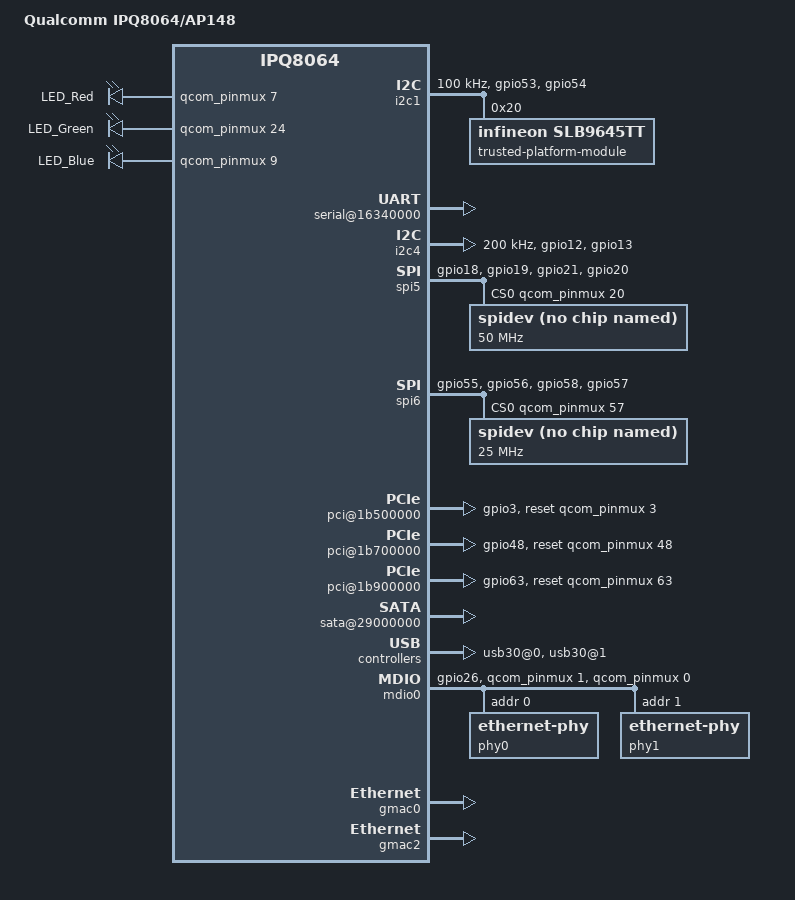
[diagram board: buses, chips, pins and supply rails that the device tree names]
#include "qcom-ipq8064-v1.0.dtsi"

/ {
	model = "Qualcomm IPQ8064/AP148";
	compatible = "google,whirlwind-sp3", "qcom,ipq8064";

	reserved-memory {
		#address-cells = <1>;
		#size-cells = <1>;
		rsvd@41200000 {
			reg = <0x41200000 0x300000>;
			no-map;
		};
	};

	aliases {
		mdio-gpio0 = &mdio0;
		spi5 = &spi5; /* flashrom requires this bus to be the lowest */
		spi6 = &spi6;
	};

	firmware {
		chromeos {
			pinctrl-0 = <&fw_pins>;
			pinctrl-names = "default";
			write-protect-gpio = <&qcom_pinmux 17 1>;
			recovery-switch = <&qcom_pinmux 16 1>;
		};
	};

	soc {
		pinmux@800000 {
			pinctrl-0 = <&rgmii0_pinmux>;
			pinctrl-names = "default";

			sdcc1_pins: sdcc1_pinmux {
				mux {
					pins = "gpio38", "gpio39", "gpio40",
					       "gpio41", "gpio42", "gpio43",
					       "gpio44", "gpio45", "gpio46",
					       "gpio47";
					function = "sdc1";
				};
				cmd {
					pins = "gpio45";
					drive-strength = <10>;
					bias-pull-up;
				};
				data {
					pins = "gpio38", "gpio39", "gpio40",
					       "gpio41", "gpio43", "gpio44",
					       "gpio46", "gpio47";
					drive-strength = <10>;
					bias-pull-up;
				};
				clk {
					pins = "gpio42";
					drive-strength = <16>;
					bias-pull-down;
				};
			};

			i2c1_pins: i2c1_pinmux {
				pins = "gpio53", "gpio54";
				function = "gsbi1";
				bias-disable;
			};

			i2c4_pins: i2c4_pinmux {
				pins = "gpio12", "gpio13";
				function = "gsbi4";
				bias-disable;
			};

			pcie1_pins: pcie1_pinmux {
				mux {
					pins = "gpio3";
					drive-strength = <2>;
					bias-disable;
				};
			};

			pcie2_pins: pcie2_pinmux {
				mux {
					pins = "gpio48";
					drive-strength = <2>;
					bias-disable;
				};
			};

			pcie3_pins: pcie3_pinmux {
				mux {
					pins = "gpio63";
					drive-strength = <2>;
					bias-disable;
				};
			};

			rgmii0_pinmux: rgmii0_pinmux {
				mux {
					pins = "gpio2", "gpio66";
					drive-strength = <8>;
					bias-disable;
				};
			};

			spi_pins: spi_pins {
				mux {
					pins = "gpio18", "gpio19", "gpio21";
					function = "gsbi5";
					bias-pull-down;
				};
				data {
					pins = "gpio18", "gpio19";
					drive-strength = <10>;
				};
				cs {
					pins = "gpio20";
					drive-strength = <10>;
					bias-pull-up;
				};
				clk {
					pins = "gpio21";
					drive-strength = <12>;
				};
			};

			leds_pins: led_pinmux {
				mux {
					pins = "gpio7", "gpio9", "gpio24";
					drive-strength = <2>;
					bias-none;
					output-high;
				};
			};

			switch_reset: switch_reset {
				rst {
					pins = "gpio26";
					output-low;
				};
			};

			fw_pins: fw_pinmux {
				wp {
					pins = "gpio17";
					output-low;
				};
				recovery {
					pins = "gpio16";
					bias-none;
				};
			};

			spi6_pins: spi6_pins {
				mux {
					pins = "gpio55", "gpio56", "gpio58";
					function = "gsbi6_b";
					bias-pull-down;
				};
				data {
					pins = "gpio55", "gpio56";
					drive-strength = <10>;
				};
				cs {
					pins = "gpio57";
					drive-strength = <10>;
					bias-pull-up;
					output-high;
				};
				clk {
					pins = "gpio58";
					drive-strength = <12>;
				};
			};
		};

		gsbi1: gsbi@12440000 {
			qcom,mode = <GSBI_PROT_I2C_UART>;
			status = "ok";

			i2c1: i2c@12460000 {
				status = "ok";

				clock-frequency = <100000>;

				pinctrl-0 = <&i2c1_pins>;
				pinctrl-names = "default";

				trusted-platform-module {
					compatible = "infineon,slb9645tt";
					reg = <0x20>;
					powered-while-suspended;
				};
			};
		};

		gsbi@16300000 {
			qcom,mode = <GSBI_PROT_I2C_UART>;
			status = "ok";
			serial@16340000 {
				status = "ok";
			};

			i2c4: i2c@16380000 {
				status = "ok";

				clock-frequency = <200000>;

				pinctrl-0 = <&i2c4_pins>;
				pinctrl-names = "default";
			};
		};

		gsbi5: gsbi@1a200000 {
			qcom,mode = <GSBI_PROT_SPI>;
			status = "ok";

			spi5: spi@1a280000 {
				status = "ok";
				spi-max-frequency = <50000000>;

				pinctrl-0 = <&spi_pins>;
				pinctrl-names = "default";

				cs-gpios = <&qcom_pinmux 20 0>;

				dmas = <&adm_dma 6 9>,
					<&adm_dma 5 10>;
				dma-names = "rx", "tx";

				spidev@0 {
					compatible = "spidev";
					reg = <0>;
					spi-max-frequency = <50000000>;
				};
			};
		};

		gsbi6: gsbi@16500000 {
			qcom,mode = <GSBI_PROT_SPI>;
			status = "ok";

			spi6: spi@16580000 {
				status = "ok";
				spi-max-frequency = <25000000>;

				pinctrl-0 = <&spi6_pins>;
				pinctrl-names = "default";

				cs-gpios = <&qcom_pinmux 57 0>;

				dmas = <&adm_dma 8 0xb>,
					<&adm_dma 7 0x14>;
				dma-names = "rx", "tx";

				spidev@0 {
					compatible = "spidev";
					reg = <0>;
					spi-max-frequency = <25000000>;
				};
			};
		};

		pci@1b500000 {
			status = "ok";
			reset-gpio = <&qcom_pinmux 3 0>;
			pinctrl-0 = <&pcie1_pins>;
			pinctrl-names = "default";

			ranges = <0x00000000 0 0x00000000 0x0ff00000 0 0x00100000   /* configuration space */
				  0x81000000 0 0	  0x0fe00000 0 0x00100000   /* downstream I/O */
				  0x82000000 0 0x00000000 0x08000000 0 0x07e00000>; /* non-prefetchable memory */

			pcie@0 {
				reg = <0 0 0 0 0>;
				#interrupt-cells = <1>;
				#size-cells = <2>;
				#address-cells = <3>;
				device_type = "pci";

				ath10k@0,0 {
					reg = <0 0 0 0 0>;
					device_type = "pci";
					qcom,ath10k-calibration-data = [00];
				};
			};
		};

		pci@1b700000 {
			status = "ok";
			reset-gpio = <&qcom_pinmux 48 0>;
			pinctrl-0 = <&pcie2_pins>;
			pinctrl-names = "default";

			ranges = <0x00000000 0 0x00000000 0x31f00000 0 0x00100000   /* configuration space */
				  0x81000000 0 0	  0x31e00000 0 0x00100000   /* downstream I/O */
				  0x82000000 0 0x00000000 0x2e000000 0 0x03e00000>; /* non-prefetchable memory */

			pcie@0 {
				reg = <0 0 0 0 0>;
				#interrupt-cells = <1>;
				#size-cells = <2>;
				#address-cells = <3>;
				device_type = "pci";

				ath10k@0,0 {
					reg = <0 0 0 0 0>;
					device_type = "pci";
					qcom,ath10k-calibration-data = [00];
				};
			};
		};

		pci@1b900000 {
			status = "ok";
			reset-gpio = <&qcom_pinmux 63 0>;
			pinctrl-0 = <&pcie3_pins>;
			pinctrl-names = "default";

			ranges = <0x00000000 0 0x00000000 0x35f00000 0 0x00100000   /* configuration space */
				  0x81000000 0 0	  0x35e00000 0 0x00100000   /* downstream I/O */
				  0x82000000 0 0x00000000 0x32000000 0 0x03e00000>; /* non-prefetchable memory */

			pcie@0 {
				reg = <0 0 0 0 0>;
				#interrupt-cells = <1>;
				#size-cells = <2>;
				#address-cells = <3>;
				device_type = "pci";

				ath10k@0,0 {
					reg = <0 0 0 0 0>;
					device_type = "pci";
					qcom,ath10k-calibration-data = [00];
				};
			};
		};

		sata-phy@1b400000 {
			status = "ok";
		};

		sata@29000000 {
			status = "ok";
		};

		dma@18300000 {
			status = "ok";
		};

		tcsr@1a400000 {
			status = "ok";
			qcom,usb-ctrl-select = <TCSR_USB_SELECT_USB3_DUAL>;
		};

		phy@100f8800 {		/* USB3 port 1 HS phy */
			status = "ok";
		};

		phy@100f8830 {		/* USB3 port 1 SS phy */
			status = "ok";
		};

		phy@110f8800 {		/* USB3 port 0 HS phy */
			status = "ok";
		};

		phy@110f8830 {		/* USB3 port 0 SS phy */
			status = "ok";
		};

		usb30@0 {
			status = "ok";
		};

		usb30@1 {
			status = "ok";
		};

		gpio-leds {
			compatible = "gpio-leds";
			pinctrl-0 = <&leds_pins>;

			color-red {
				label = "LED_Red";
				gpios = <&qcom_pinmux 7 0>;
				default-state = "off";
			};

			color-green {
				label = "LED_Green";
				gpios = <&qcom_pinmux 24 0>;
				default-state = "off";
			};

			color-blue {
				label = "LED_Blue";
				gpios = <&qcom_pinmux 9 0>;
				default-state = "off";
			};
		};

		amba {
			/* eMMC */
			sdcc1: sdcc@12400000 {
				status = "okay";
				pinctrl-0 = <&sdcc1_pins>;
				pinctrl-names = "default";
			};

			/* External micro SD card */
			sdcc3: sdcc@12180000 {
				status = "okay";
			};
		};

		mdio0: mdio {
			compatible = "virtual,mdio-gpio";
			#address-cells = <1>;
			#size-cells = <0>;
			gpios = <&qcom_pinmux 1 0 &qcom_pinmux 0 0>;
			pinctrl-0 = <&switch_reset>;
			pinctrl-names = "default";

			phy0: ethernet-phy@0 {
				device_type = "ethernet-phy";
				reg = <0>;
				qca,ar8327-initvals = <
					0x00004 0x7600000   /* PAD0_MODE */
					0x00008 0x1000000   /* PAD5_MODE */
					0x0000c 0x80        /* PAD6_MODE */
					0x000e4 0xaa545     /* MAC_POWER_SEL */
					0x000e0 0xc74164de  /* SGMII_CTRL */
					0x0007c 0x4e        /* PORT0_STATUS */
					0x00094 0x4e        /* PORT6_STATUS */
				>;
				qca,ar8327-vlans =<
					0x1	0x42	/* VLAN1 Ports 1/6 */
					0x2	0x05	/* VLAN2 Ports 0/2 */
				>;
			};

			phy1: ethernet-phy@1 {
				device_type = "ethernet-phy";
				reg = <1>;
			};
		};

		nss0: nss@40000000 {
			compatible = "qcom,nss0";
			interrupts = <0 213 0x4>;
			reg = <0x36000000 0x1000 0x39000000 0x20000>;
			reg-names = "nphys", "vphys";
			clocks = <&gcc NSS_CORE_CLK>, <&gcc NSSTCM_CLK_SRC>, <&gcc NSSTCM_CLK>;
			clock-names = "nss_core_clk", "nss_tcm_src", "nss_tcm_clk";
			resets = <&gcc UBI32_CORE1_CLKRST_CLAMP_RESET>,
				 <&gcc UBI32_CORE1_CLAMP_RESET>,
				 <&gcc UBI32_CORE1_AHB_RESET>,
				 <&gcc UBI32_CORE1_AXI_RESET>;
			reset-names = "clkrst_clamp", "clamp", "ahb", "axi";
			qcom,id = <0>;
			qcom,num_irq = <1>;
			qcom,rst_addr = <0x40000000>;
			qcom,load_addr = <0x40000000>;
			qcom,turbo_frequency = <1>;
			qcom,ipv4_enabled = <1>;
			qcom,ipv6_enabled = <1>;
			qcom,l2switch_enabled = <1>;
			qcom,crypto_enabled = <0>;
			qcom,ipsec_enabled = <0>;
			qcom,wlan_enabled = <0>;
			qcom,tun6rd_enabled = <1>;
			qcom,tunipip6_enabled = <1>;
			qcom,shaping_enabled = <1>;
			qcom,gmac0_enabled = <1>;
			qcom,gmac1_enabled = <1>;
			qcom,gmac2_enabled = <1>;
			qcom,gmac3_enabled = <1>;
		};

		nss-gmac-common {
			reg = <0x03000000 0x0000FFFF 0x1bb00000 0x0000FFFF 0x00900000 0x00004000>;
			reg-names = "nss_reg_base" , "qsgmii_reg_base", "clk_ctl_base";
		};

		gmac0: ethernet@37000000 {
			device_type = "network";
			compatible = "qcom,nss-gmac0";
			reg = <0x37000000 0x200000>;
			qcom,id = <0>;			/* gmac0 */
			qcom,phy_mdio_addr = <32>;	/* none */
			qcom,poll_required = <0>;	/* disable polling */
			qcom,rgmii_delay = <0>;
			qcom,phy_mii_type = <0>;	/* RGMII */
			qcom,emulation = <0>;
			qcom,forced_speed = <1000>;	/* Force speed 1G */
			qcom,forced_duplex = <1>;	/* Force duplex FD */
			local-mac-address = [000000000000];
			mdiobus = <&mdio0>;
		};

		gmac2: ethernet@37400000 {
			device_type = "network";
			compatible = "qcom,nss-gmac2";
			reg = <0x37400000 0x200000>;
			qcom,id = <2>;
			qcom,phy_mdio_addr = <32>;	/* none */
			qcom,poll_required = <0>;	/* no polling */
			qcom,rgmii_delay = <0>;
			qcom,phy_mii_type = <1>;	/* SGMII */
			qcom,emulation = <0>;
			qcom,forced_speed = <1000>;	/* Force speed 1G */
			qcom,forced_duplex = <1>;	/* Force duplex FD */
			local-mac-address = [000000000000];
			mdiobus = <&mdio0>;
		};

		watchdog@208a038 {
			compatible = "qcom,kpss-wdt-ipq8064";
			reg = <0x0208a038 0x40>;
			clock-frequency = <32768>;
			timeout-sec = <10>;
		};
	};
};
